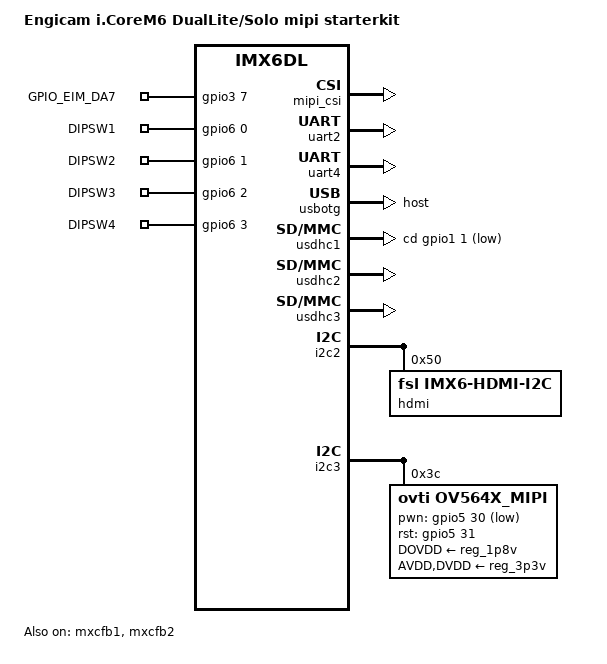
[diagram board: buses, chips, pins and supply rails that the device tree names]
/*
 * Copyright (C) 2013 Freescale Semiconductor, Inc.
 *
 * This program is free software; you can redistribute it and/or modify
 * it under the terms of the GNU General Public License version 2 as
 * published by the Free Software Foundation.
 */

/dts-v1/;

#include "imx6dl.dtsi"
#include "imx6qdl-icore.dtsi"

/ {
	model = "Engicam i.CoreM6 DualLite/Solo mipi starterkit";
	compatible = "fsl,imx6-icore", "fsl,imx6dl";

	aliases {
		mmc0 = &usdhc1;
		mmc1 = &usdhc3;
		mmc2 = &usdhc2;
		mmc3 = &usdhc4;
	};

	gpio_export {
		compatible = "gpio-export";
		#size-cells = <0>;
		GPIO_EIM_DA7 {
			gpio-export,name = "GPIO_EIM_DA7";
			gpio-export,input = <1>;
			gpios = <&gpio3 7 0>;
		};

		DIPSW1 {
			gpio-export,name = "DIPSW1";
			gpio-export,input = <1>;
			gpios = <&gpio6 0 0>;
		};

		DIPSW2 {
			gpio-export,name = "DIPSW2";
			gpio-export,input = <1>;
			gpios = <&gpio6 1 0>;
		};

		DIPSW3 {
			gpio-export,name = "DIPSW3";
			gpio-export,input = <1>;
			gpios = <&gpio6 2 0>;
		};

		DIPSW4 {
			gpio-export,name = "DIPSW4";
			gpio-export,input = <1>;
			gpios = <&gpio6 3 0>;
		};				
	};

	codec: codec {
		status = "disabled";
	};

	sound: sound {
		status = "disabled";
	};
};

&ldb {
	ipu_id = <0>; 
	sec_ipu_id = <0>;
};

&mipi_csi {
	status = "okay";
	ipu_id = <0>;
	csi_id = <0>;
	v_channel = <0>;
	lanes = <2>;
};

&mxcfb1 {
	status = "okay";
};

&mxcfb2 {
	status = "okay";
};

&can1 {
	status = "disabled"; 
};

&can2 {
	status = "disabled";
};

&uart2 {
	status = "okay";
};

&uart3 {
	status = "disabled";
};

&uart4 {
	status = "okay";
};

&usbotg {
	dr_mode = "host";
	status = "okay";
};

&usdhc1 {
	cd-gpios = <&gpio1 1 GPIO_ACTIVE_LOW>;
	status = "okay";
};

&usdhc2 {
	pinctrl-assert-gpios = <&gpio1 7 GPIO_ACTIVE_HIGH>;
	status = "okay";
};

&usdhc3 {
	status = "okay";
};

&i2c2 {

	hdmi: edid@50 {
		compatible = "fsl,imx6-hdmi-i2c";
		reg = <0x50>;
	};
};

&i2c3 {
	ov564x_mipi: ov564x_mipi@3c { /* i2c2 driver */
		compatible = "ovti,ov564x_mipi";
		reg = <0x3c>;
		clocks = <&clks 201>;
		clock-names = "csi_mclk";
		DOVDD-supply = <&reg_1p8v>; /* 1.8v */
		AVDD-supply = <&reg_3p3v>;  /* 3.3v */
		DVDD-supply = <&reg_3p3v>;  /* 3.3v*/
		pwn-gpios = <&gpio5 30 1>;   /* active low  */
		rst-gpios = <&gpio5 31 0>;   /* active high */
		csi_id = <0>;
		mclk = <24000000>;
		mclk_source = <0>;
	};	
};

&iomuxc {
	pinctrl-names = "default";
	pinctrl-0 = <&pinctrl_hog>;

	hog {
		pinctrl_hog: hoggrp {
			fsl,pins = <
				MX6QDL_PAD_GPIO_7__GPIO1_IO07     0x1f059 /* WF111 reset */
				MX6QDL_PAD_CSI0_DAT12__GPIO5_IO30 0x1f059 /*PWN-GPIOS OV5640*/
				MX6QDL_PAD_CSI0_DAT13__GPIO5_IO31 0x1f059 /*RST-GPIOS OV5640*/
				MX6QDL_PAD_EIM_DA7__GPIO3_IO07    0x1f059 /* EIM_DA07 forced to GPIO in */
				MX6QDL_PAD_GPIO_1__GPIO1_IO01     0x1f059 /*CD SD CARD*/
				MX6QDL_PAD_CSI0_DAT14__GPIO6_IO00 0x1f059 /*DIPSW1*/
				MX6QDL_PAD_CSI0_DAT15__GPIO6_IO01 0x1f059 /*DIPSW2*/
				MX6QDL_PAD_CSI0_DAT16__GPIO6_IO02 0x1f059 /*DIPSW3*/
				MX6QDL_PAD_CSI0_DAT17__GPIO6_IO03 0x1f059 /*DIPSW4*/
			>;
		};
	};
};
